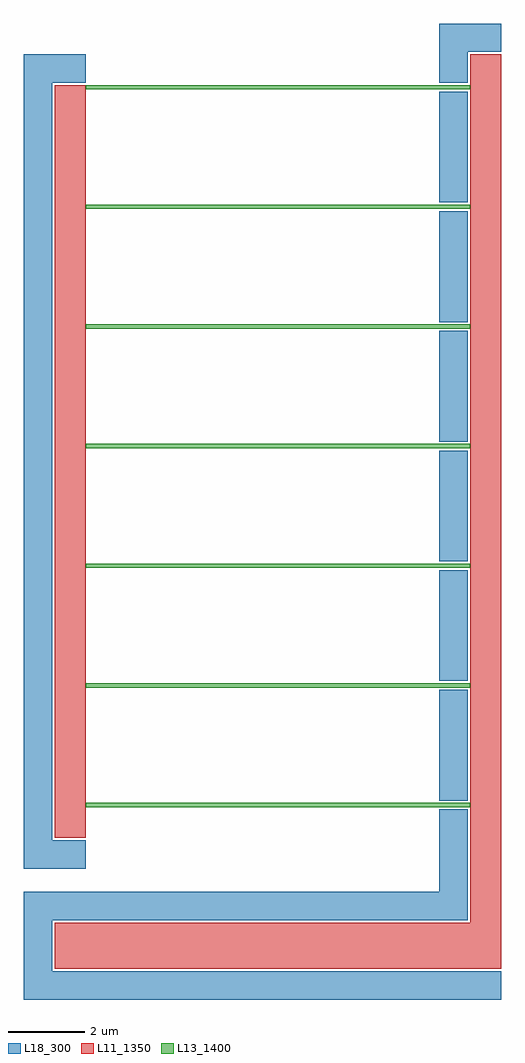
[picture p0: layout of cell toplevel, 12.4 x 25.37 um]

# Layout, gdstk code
from math import pi, radians
import gdstk
lib = gdstk.Library(unit=1e-6, precision=1e-09)
def R(c, l, rs):  # rectangles x0, y0, x1, y1
    for r in rs: c.add(gdstk.rectangle(r[:2], r[2:], *l))
def A(c, l, x, y, w, h, nx, ny, dx, dy):  # array of equal rectangles
    R(c, l, [(x+i*dx, y+j*dy, x+i*dx+w, y+j*dy+h) for i in range(nx) for j in range(ny)])
def P(c, l, *ps):  # polygons
    for p in ps: c.add(gdstk.Polygon(p, *l))
L11_1350 = (11, 1350)
L13_1400 = (13, 1400)
L18_300 = (18, 300)

rectangle014 = lib.new_cell('rectangle014')
R(rectangle014, L11_1350, [(0,0,0.8,18.77)])

rectangle015 = lib.new_cell('rectangle015')
R(rectangle015, L11_1350, [(0,-0.8,0.8,0)])

arm_connector = lib.new_cell('Arm connector')
arm_connector.add(gdstk.Reference(rectangle014, (-0.8,-18.66)))
arm_connector.add(gdstk.Reference(rectangle015, (-0.8,-18.66)))

boolean016 = lib.new_cell('boolean016')
P(boolean016, L11_1350, [(11.4,0.6),(0.6,0.6),(0.6,22.37),(-0.2,22.37),(-0.2,-0.6),(11.4,-0.6)])

rectangle017 = lib.new_cell('rectangle017')
R(rectangle017, L11_1350, [(-0.2,22.37,0.6,23.17)])

right_arm_connector = lib.new_cell('Right arm connector')
right_arm_connector.add(gdstk.Reference(boolean016, (10.6,-22.26), rotation=pi, x_reflection=True))
right_arm_connector.add(gdstk.Reference(rectangle017, (10.6,-22.26), rotation=pi, x_reflection=True))

arms = lib.new_cell('Arms')
arms.add(gdstk.Reference(arm_connector, (0,0)))
arms.add(gdstk.Reference(right_arm_connector, (0,0)))

rectangle = lib.new_cell('rectangle')
R(rectangle, L13_1400, [(0,0,10,0.11)])

resistive_segment = lib.new_cell('Resistive segment')
resistive_segment.add(gdstk.Reference(rectangle, (0,0)))

rectangle003 = lib.new_cell('rectangle003')
R(rectangle003, L13_1400, [(0,0,10,0.11)])

resistive_segment002 = lib.new_cell('Resistive segment002')
resistive_segment002.add(gdstk.Reference(rectangle003, (0,-3.11)))

rectangle005 = lib.new_cell('rectangle005')
R(rectangle005, L13_1400, [(0,0,10,0.11)])

resistive_segment004 = lib.new_cell('Resistive segment004')
resistive_segment004.add(gdstk.Reference(rectangle005, (0,-6.22)))

rectangle007 = lib.new_cell('rectangle007')
R(rectangle007, L13_1400, [(0,0,10,0.11)])

resistive_segment006 = lib.new_cell('Resistive segment006')
resistive_segment006.add(gdstk.Reference(rectangle007, (0,-9.33)))

rectangle009 = lib.new_cell('rectangle009')
R(rectangle009, L13_1400, [(0,0,10,0.11)])

resistive_segment008 = lib.new_cell('Resistive segment008')
resistive_segment008.add(gdstk.Reference(rectangle009, (0,-12.44)))

rectangle011 = lib.new_cell('rectangle011')
R(rectangle011, L13_1400, [(0,0,10,0.11)])

resistive_segment010 = lib.new_cell('Resistive segment010')
resistive_segment010.add(gdstk.Reference(rectangle011, (0,-15.55)))

rectangle013 = lib.new_cell('rectangle013')
R(rectangle013, L13_1400, [(0,0,10,0.11)])

resistive_segment012 = lib.new_cell('Resistive segment012')
resistive_segment012.add(gdstk.Reference(rectangle013, (0,-18.66)))

resistive_segments = lib.new_cell('Resistive segments')
resistive_segments.add(gdstk.Reference(resistive_segment, (0,0)))
resistive_segments.add(gdstk.Reference(resistive_segment002, (0,0)))
resistive_segments.add(gdstk.Reference(resistive_segment004, (0,0)))
resistive_segments.add(gdstk.Reference(resistive_segment006, (0,0)))
resistive_segments.add(gdstk.Reference(resistive_segment008, (0,0)))
resistive_segments.add(gdstk.Reference(resistive_segment010, (0,0)))
resistive_segments.add(gdstk.Reference(resistive_segment012, (0,0)))

boolean = lib.new_cell('boolean')
P(boolean, L18_300, [(0,-19.52),(-0.86,-19.52),(-0.86,0.17),(0,0.17),(0,0.91),(-1.6,0.91),(-1.6,-20.26),(0,-20.26)])

boolean018 = lib.new_cell('boolean018')
A(boolean018, L18_300, 9.2, -18.49, 0.74, 2.88, 1, 6, 0, 3.11)
P(boolean018, L18_300, [(9.94,0.97),(10.8,0.97),(10.8,1.71),(9.2,1.71),(9.2,0.17),(9.94,0.17)],
  [(10.8,-22.92),(-0.86,-22.92),(-0.86,-21.6),(9.94,-21.6),(9.94,-18.72),(9.2,-18.72),(9.2,-20.86),(-1.6,-20.86),(-1.6,-23.66),(10.8,-23.66)])

liftoff_undercut = lib.new_cell('Liftoff undercut')
liftoff_undercut.add(gdstk.Reference(boolean, (0,0)))
liftoff_undercut.add(gdstk.Reference(boolean018, (0,0)))

toplevel = lib.new_cell('toplevel')
toplevel.add(gdstk.Reference(arms, (0,0)))
toplevel.add(gdstk.Reference(resistive_segments, (0,0)))
toplevel.add(gdstk.Reference(liftoff_undercut, (0,0)))

lib.write_gds('toplevel.gds')
